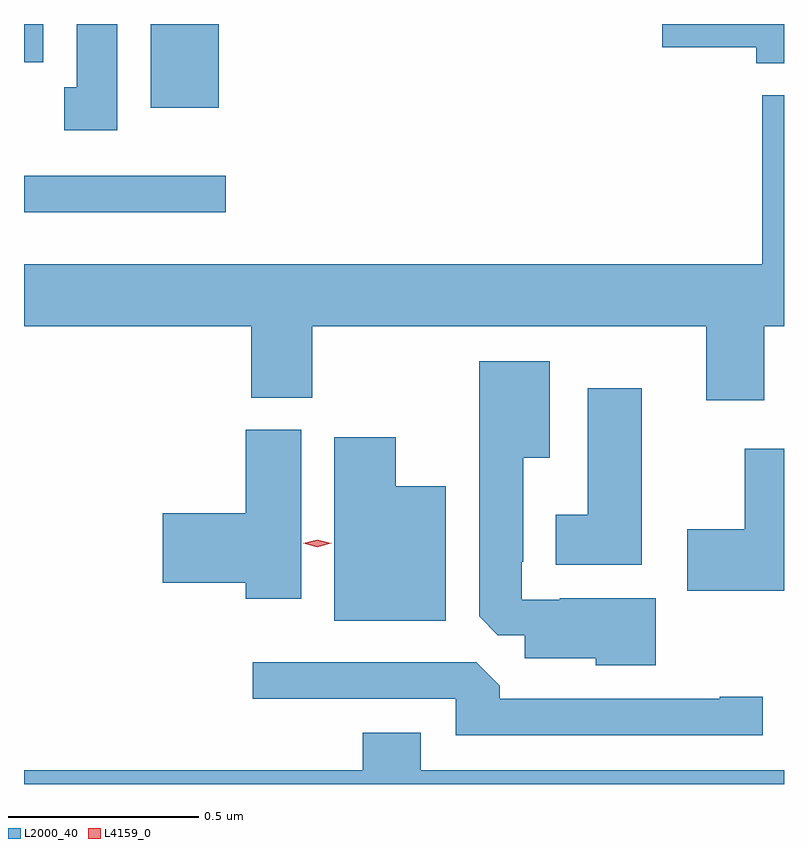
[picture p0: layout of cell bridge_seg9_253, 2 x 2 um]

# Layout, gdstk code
import gdstk
lib = gdstk.Library(unit=1e-6, precision=1e-09)
def R(c, l, rs):  # rectangles x0, y0, x1, y1
    for r in rs: c.add(gdstk.rectangle(r[:2], r[2:], *l))
def P(c, l, *ps):  # polygons
    for p in ps: c.add(gdstk.Polygon(p, *l))
L2000_40 = (2000, 40)
L4159_0 = (4159, 0)

bridge_seg9_253 = lib.new_cell('bridge_seg9_253')
R(bridge_seg9_253, L2000_40, [(269.995,1194.056,270.526,1194.153), (270.329,1194.332,270.508,1194.552), (269.995,1194.452,270.046,1194.552)])
P(bridge_seg9_253, L2000_40, [(270.241,1194.552),(270.134,1194.552),(270.134,1194.386),(270.101,1194.386),(270.101,1194.273),(270.241,1194.273)],
  [(271.995,1194.552),(271.674,1194.552),(271.674,1194.491),(271.922,1194.491),(271.922,1194.449),(271.995,1194.449)],
  [(269.995,1193.756),(270.593,1193.756),(270.593,1193.569),(270.753,1193.569),(270.753,1193.756),(271.79,1193.756),(271.79,1193.562),(271.943,1193.562),(271.943,1193.756),(271.995,1193.756),(271.995,1194.364),(271.938,1194.364),(271.938,1193.92),(269.995,1193.92)],
  [(271.657,1193.041),(271.405,1193.041),(271.405,1193.037),(271.305,1193.037),(271.305,1193.137),(271.309,1193.137),(271.309,1193.411),(271.378,1193.411),(271.378,1193.665),(271.193,1193.665),(271.193,1192.993),(271.242,1192.944),(271.313,1192.944),(271.313,1192.883),(271.5,1192.883),(271.5,1192.865),(271.657,1192.865)],
  [(271.621,1193.593),(271.478,1193.593),(271.478,1193.26),(271.394,1193.26),(271.394,1193.129),(271.621,1193.129)],
  [(270.724,1193.484),(270.578,1193.484),(270.578,1193.264),(270.36,1193.264),(270.36,1193.081),(270.578,1193.081),(270.578,1193.04),(270.724,1193.04)],
  [(271.105,1193.335),(270.973,1193.335),(270.973,1193.464),(270.812,1193.464),(270.812,1192.982),(271.105,1192.982)],
  [(271.995,1193.434),(271.892,1193.434),(271.892,1193.223),(271.74,1193.223),(271.74,1193.06),(271.995,1193.06)],
  [(271.939,1192.781),(271.826,1192.781),(271.826,1192.776),(271.247,1192.776),(271.247,1192.81),(271.185,1192.872),(270.597,1192.872),(270.597,1192.776),(271.131,1192.776),(271.131,1192.68),(271.939,1192.68)],
  [(271.995,1192.588),(271.039,1192.588),(271.039,1192.687),(270.887,1192.687),(270.887,1192.588),(269.995,1192.588),(269.995,1192.552),(271.995,1192.552)])
P(bridge_seg9_253, L4159_0, [(270.767,1193.175),(270.73,1193.185),(270.73,1193.185),(270.73,1193.185),(270.767,1193.195),(270.804,1193.186),(270.805,1193.185),(270.804,1193.185)])

lib.write_gds('bridge_seg9_253.gds')
